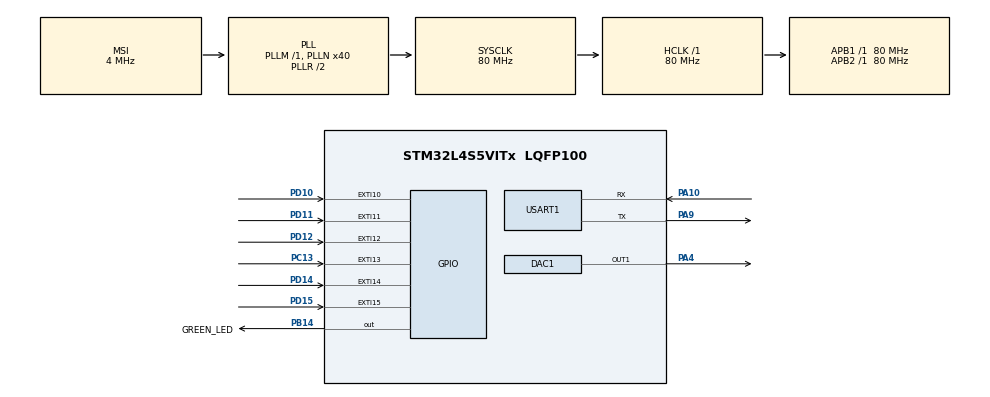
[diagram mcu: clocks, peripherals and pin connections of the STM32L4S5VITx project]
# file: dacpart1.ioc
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DAC1.DAC_Trigger-DAC_OUT1=DAC_TRIGGER_T2_TRGO
Dma.DAC1_CH1.0.Direction=DMA_MEMORY_TO_PERIPH
Dma.DAC1_CH1.0.EventEnable=DISABLE
Dma.DAC1_CH1.0.Instance=DMA1_Channel1
Dma.DAC1_CH1.0.MemDataAlignment=DMA_MDATAALIGN_BYTE
Dma.DAC1_CH1.0.MemInc=DMA_MINC_ENABLE
Dma.DAC1_CH1.0.Mode=DMA_CIRCULAR
Dma.DAC1_CH1.0.PeriphDataAlignment=DMA_PDATAALIGN_HALFWORD
Dma.DAC1_CH1.0.PeriphInc=DMA_PINC_DISABLE
Dma.DAC1_CH1.0.Polarity=HAL_DMAMUX_REQUEST_GEN_RISING
Dma.DAC1_CH1.0.Priority=DMA_PRIORITY_LOW
Dma.DAC1_CH1.0.RequestNumber=1
Dma.DAC1_CH1.0.SignalID=NONE
Dma.DAC1_CH1.0.SyncEnable=DISABLE
Dma.DAC1_CH1.0.SyncPolarity=HAL_DMAMUX_SYNC_NO_EVENT
Dma.DAC1_CH1.0.SyncRequestNumber=1
Dma.DAC1_CH1.0.SyncSignalID=NONE
Dma.Request0=DAC1_CH1
Mcu.Family=STM32L4
Mcu.Name=STM32L4S5VITx
Mcu.Package=LQFP100
NVIC.DMA1_Channel1_IRQn=true\:0\:0\:false\:false\:true\:false\:true
NVIC.EXTI15_10_IRQn=true\:0\:0\:false\:false\:true\:true\:true
NVIC.PriorityGroup=NVIC_PRIORITYGROUP_4
NVIC.TIM2_IRQn=true\:0\:0\:false\:false\:true\:true\:true
PA10.Mode=Asynchronous
PA10.Signal=USART1_RX
PA13\ (JTMS/SWDIO).Signal=SYS_JTMS-SWDIO
PA4.Signal=COMP_DAC11_group
PA9.Mode=Asynchronous
PA9.Signal=USART1_TX
PB14.GPIO_Label=GREEN_LED
PB14.Signal=GPIO_Output
PB3\ (JTDO/TRACESWO).Signal=SYS_JTDO-SWO
PC13.Signal=GPXTI13
PD10.Signal=GPXTI10
PD11.Signal=GPXTI11
PD12.Signal=GPXTI12
PD14.Signal=GPXTI14
PD15.Signal=GPXTI15
ProjectManager.HeapSize=0x200
ProjectManager.StackSize=0x400
ProjectManager.TargetToolchain=STM32CubeIDE
RCC.ADCFreq_Value=48000000
RCC.AHBFreq_Value=80000000
RCC.APB1Freq_Value=80000000
RCC.APB1TimFreq_Value=80000000
RCC.APB2Freq_Value=80000000
RCC.APB2TimFreq_Value=80000000
RCC.CortexFreq_Value=80000000
RCC.HCLKFreq_Value=80000000
RCC.HSE_VALUE=8000000
RCC.HSI48_VALUE=48000000
RCC.HSI_VALUE=16000000
RCC.LSE_VALUE=32768
RCC.MSI_VALUE=4000000
RCC.PLLN=40
RCC.PLLSAI1N=24
RCC.SYSCLKFreq_VALUE=80000000
RCC.SYSCLKSource=RCC_SYSCLKSOURCE_PLLCLK
RCC.USBFreq_Value=48000000
RCC.VCOOutputFreq_Value=160000000
SH.COMP_DAC11_group.0=DAC1_OUT1,DAC_OUT1
TIM2.CounterMode=TIM_COUNTERMODE_UP
TIM2.Period=1814
TIM2.Prescaler=0
TIM2.TIM_MasterOutputTrigger=TIM_TRGO_UPDATE
USART1.VirtualMode-Asynchronous=VM_ASYNC
VP_TIM2_VS_ClockSourceINT.Mode=Internal
board=B-L4S5I-IOT01A

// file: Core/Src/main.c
/* USER CODE BEGIN Header */
/**
  ******************************************************************************
  * @file           : main.c
  * @brief          : Main program body
  ******************************************************************************
  * @attention
  *
  * <h2><center>&copy; Copyright (c) 2021 STMicroelectronics.
  * All rights reserved.</center></h2>
  *
  * This software component is licensed by ST under BSD 3-Clause license,
  * the "License"; You may not use this file except in compliance with the
  * License. You may obtain a copy of the License at:
  *                        opensource.org/licenses/BSD-3-Clause
  *
  ******************************************************************************
  */
/* USER CODE END Header */
#include "main.h"

/* USER CODE BEGIN Includes */
#include "math.h"
#include "arm_math.h"
/* USER CODE END Includes */

/* USER CODE BEGIN PD */
//pi to 100 decimal places
#define pi 3.1415926535897932384626433832795028841971693993751058209749445923078164062862089986280348253421170679
/* USER CODE END PD */

DAC_HandleTypeDef hdac1;
DMA_HandleTypeDef hdma_dac1_ch1;

TIM_HandleTypeDef htim2;

UART_HandleTypeDef huart1;

/* USER CODE BEGIN PV */
uint8_t C6_samples[43]; //holds samples of sine wave for DAC
uint8_t E6_samples[33];
uint8_t G6_samples[27];
int timer_counter = 0;
int arpeggio_counter = 0;
/* USER CODE END PV */

void SystemClock_Config(void);
static void MX_GPIO_Init(void);
static void MX_DMA_Init(void);
static void MX_DAC1_Init(void);
static void MX_TIM2_Init(void);
static void MX_USART1_UART_Init(void);

/* USER CODE BEGIN 0 */

// function for generating a triangle wave from an inputed frequency in Hz, x is the independent variable
uint8_t triangle_wave(float frequency, int x){
	float period = 1000/frequency; //1000ms
	uint8_t y;
	//float y = (2*amplitude/pi)*asin(sin(2*pi*(float)x/period));
	float modulus = fmod(x,period)/period;
	if (modulus<0.5){ //ascending slope for half period
		y = (uint8_t)(510*modulus);
	}else{ //descending slope for half period
		modulus = modulus-0.5;
		y = (uint8_t)(255-510*modulus);
	}

	return y;
}

// function for generating a sawtooth wave from an inputed frequency in Hz, x is the independent variable
uint8_t sawtooth_wave(float frequency, int x){
	float period = 1000/frequency; //1000ms
	//float y = 2*(((float)x/period)-floor(((float)x/period)+0.5));
	float modulus = fmod(x,period)/period; //ascending slope every period
	uint8_t y = (uint8_t)(255*modulus);

	return y;
}

// function for generating a sine wave from an inputed frequency in Hz, x is the independent variable, encapsulates the cmsis sine function
uint8_t sine_wave(float frequency, int x){
	float period = 1000/frequency; //1000ms
	uint8_t y;
	float modulus = fmod(x,period)/period;
	float radians = 6.283185*modulus;
	radians = (arm_sin_f32(radians)+1)*127.5;
	y = (uint8_t)radians;

	return y;
}

// populate the sine wave sampling array for a C6 tone
void C6_sample_populator(){
	for(int i=0; i<43; i++){
		float modulus = (float)i/43;
		float radians = 6.283185*modulus;
		radians = (arm_sin_f32(radians)+1)*85;
		C6_samples[i] = (uint8_t)radians;
	}
}

// populate the sine wave sampling array for an E6 tone
void E6_sample_populator(){
	for(int i=0; i<33; i++){
		float modulus = (float)i/33;
		float radians = 6.283185*modulus;
		radians = (arm_sin_f32(radians)+1)*85;
		E6_samples[i] = (uint8_t)radians;
	}
}

// populate the sine wave sampling array for a G6 tone
void G6_sample_populator(){
	for(int i=0; i<27; i++){
		float modulus = (float)i/27;
		float radians = 6.283185*modulus;
		radians = (arm_sin_f32(radians)+1)*85;
		G6_samples[i] = (uint8_t)radians;
	}
}

// handles interupts from the user button
void HAL_GPIO_EXTI_Callback(uint16_t GPIO_PIN){
	if(GPIO_PIN == GPIO_PIN_13){
		HAL_GPIO_TogglePin(GREEN_LED_GPIO_Port, GREEN_LED_Pin);
		arpeggio_counter++;
		arpeggio_counter = arpeggio_counter%3;
		if (arpeggio_counter == 0){
			HAL_DAC_Stop_DMA(&hdac1, DAC_CHANNEL_1);
			HAL_DAC_Start_DMA(&hdac1,DAC_CHANNEL_1,C6_samples,43,DAC_ALIGN_8B_R);
		}
		else if (arpeggio_counter == 1){
			HAL_DAC_Stop_DMA(&hdac1, DAC_CHANNEL_1);
			HAL_DAC_Start_DMA(&hdac1,DAC_CHANNEL_1,E6_samples,33,DAC_ALIGN_8B_R);
		}
		else if (arpeggio_counter == 2){
			HAL_DAC_Stop_DMA(&hdac1, DAC_CHANNEL_1);
			HAL_DAC_Start_DMA(&hdac1,DAC_CHANNEL_1,G6_samples,27,DAC_ALIGN_8B_R);
		}
	}
}

/*
// basic interrupt for C6 tone with no DMA
void HAL_TIM_PeriodElapsedCallback(TIM_HandleTypeDef * htim){
	if(htim == &htim2){
		timer_counter = timer_counter%44;
		HAL_DAC_SetValue(&hdac1, DAC_CHANNEL_1, DAC_ALIGN_8B_R, C6_samples[timer_counter]);
		timer_counter++;

	}
}
*/
/* USER CODE END 0 */

int main(void)
{

  /* MCU Configuration--------------------------------------------------------*/

  /* Reset of all peripherals, Initializes the Flash interface and the Systick. */
  HAL_Init();

  /* Configure the system clock */
  SystemClock_Config();

  /* Initialize all configured peripherals */
  MX_GPIO_Init();
  MX_DMA_Init();
  MX_DAC1_Init();
  MX_TIM2_Init();
  MX_USART1_UART_Init();
  /* USER CODE BEGIN 2 */

  C6_sample_populator();
  E6_sample_populator();
  G6_sample_populator();

  HAL_TIM_Base_Start_IT(&htim2);

  /*
  int x = 0; //iterator/bootleg timer variable to increase every tick
  uint8_t triangle_current_value; //variable to hold triangle waves value to print to graph
  uint8_t sawtooth_current_value; //variable to hold sawtooth waves value to print to graph
  uint8_t sine_current_value; //variable to hold sine wave value to print to graph

*/
  //HAL_DAC_Start(&hdac1, DAC_CHANNEL_1);

  HAL_DAC_Start_DMA(&hdac1,DAC_CHANNEL_1,C6_samples,43,DAC_ALIGN_8B_R);

  /* USER CODE END 2 */

  /* Infinite loop */
  while (1)
  {

    /* USER CODE BEGIN 3 */
	  /*
	  triangle_current_value = triangle_wave(65, x);
	  sawtooth_current_value = sawtooth_wave(65, x);
	  sine_current_value = sine_wave(65,x);
	  HAL_DAC_SetValue(&hdac1, DAC_CHANNEL_1, DAC_ALIGN_8B_R, sawtooth_current_value);
	  x++;
	  HAL_Delay(1); //1ms
	  */

  }
  /* USER CODE END 3 */
}

void SystemClock_Config(void)
{
  RCC_OscInitTypeDef RCC_OscInitStruct = {0};
  RCC_ClkInitTypeDef RCC_ClkInitStruct = {0};
  RCC_PeriphCLKInitTypeDef PeriphClkInit = {0};

  /** Configure the main internal regulator output voltage
  */
  if (HAL_PWREx_ControlVoltageScaling(PWR_REGULATOR_VOLTAGE_SCALE1) != HAL_OK)
  {
    Error_Handler();
  }
  /** Initializes the RCC Oscillators according to the specified parameters
  * in the RCC_OscInitTypeDef structure.
  */
  RCC_OscInitStruct.OscillatorType = RCC_OSCILLATORTYPE_MSI;
  RCC_OscInitStruct.MSIState = RCC_MSI_ON;
  RCC_OscInitStruct.MSICalibrationValue = 0;
  RCC_OscInitStruct.MSIClockRange = RCC_MSIRANGE_6;
  RCC_OscInitStruct.PLL.PLLState = RCC_PLL_ON;
  RCC_OscInitStruct.PLL.PLLSource = RCC_PLLSOURCE_MSI;
  RCC_OscInitStruct.PLL.PLLM = 1;
  RCC_OscInitStruct.PLL.PLLN = 40;
  RCC_OscInitStruct.PLL.PLLP = RCC_PLLP_DIV2;
  RCC_OscInitStruct.PLL.PLLQ = RCC_PLLQ_DIV2;
  RCC_OscInitStruct.PLL.PLLR = RCC_PLLR_DIV2;
  if (HAL_RCC_OscConfig(&RCC_OscInitStruct) != HAL_OK)
  {
    Error_Handler();
  }
  /** Initializes the CPU, AHB and APB buses clocks
  */
  RCC_ClkInitStruct.ClockType = RCC_CLOCKTYPE_HCLK|RCC_CLOCKTYPE_SYSCLK
                              |RCC_CLOCKTYPE_PCLK1|RCC_CLOCKTYPE_PCLK2;
  RCC_ClkInitStruct.SYSCLKSource = RCC_SYSCLKSOURCE_PLLCLK;
  RCC_ClkInitStruct.AHBCLKDivider = RCC_SYSCLK_DIV1;
  RCC_ClkInitStruct.APB1CLKDivider = RCC_HCLK_DIV1;
  RCC_ClkInitStruct.APB2CLKDivider = RCC_HCLK_DIV1;

  if (HAL_RCC_ClockConfig(&RCC_ClkInitStruct, FLASH_LATENCY_3) != HAL_OK)
  {
    Error_Handler();
  }
  PeriphClkInit.PeriphClockSelection = RCC_PERIPHCLK_USART1;
  PeriphClkInit.Usart1ClockSelection = RCC_USART1CLKSOURCE_PCLK2;
  if (HAL_RCCEx_PeriphCLKConfig(&PeriphClkInit) != HAL_OK)
  {
    Error_Handler();
  }
}

static void MX_DAC1_Init(void)
{

  DAC_ChannelConfTypeDef sConfig = {0};

  /** DAC Initialization
  */
  hdac1.Instance = DAC1;
  if (HAL_DAC_Init(&hdac1) != HAL_OK)
  {
    Error_Handler();
  }
  /** DAC channel OUT1 config
  */
  sConfig.DAC_SampleAndHold = DAC_SAMPLEANDHOLD_DISABLE;
  sConfig.DAC_Trigger = DAC_TRIGGER_T2_TRGO;
  sConfig.DAC_HighFrequency = DAC_HIGH_FREQUENCY_INTERFACE_MODE_DISABLE;
  sConfig.DAC_OutputBuffer = DAC_OUTPUTBUFFER_ENABLE;
  sConfig.DAC_ConnectOnChipPeripheral = DAC_CHIPCONNECT_DISABLE;
  sConfig.DAC_UserTrimming = DAC_TRIMMING_FACTORY;
  if (HAL_DAC_ConfigChannel(&hdac1, &sConfig, DAC_CHANNEL_1) != HAL_OK)
  {
    Error_Handler();
  }

}

static void MX_TIM2_Init(void)
{

  TIM_ClockConfigTypeDef sClockSourceConfig = {0};
  TIM_MasterConfigTypeDef sMasterConfig = {0};

  htim2.Instance = TIM2;
  htim2.Init.Prescaler = 0;
  htim2.Init.CounterMode = TIM_COUNTERMODE_UP;
  htim2.Init.Period = 1814;
  htim2.Init.ClockDivision = TIM_CLOCKDIVISION_DIV1;
  htim2.Init.AutoReloadPreload = TIM_AUTORELOAD_PRELOAD_DISABLE;
  if (HAL_TIM_Base_Init(&htim2) != HAL_OK)
  {
    Error_Handler();
  }
  sClockSourceConfig.ClockSource = TIM_CLOCKSOURCE_INTERNAL;
  if (HAL_TIM_ConfigClockSource(&htim2, &sClockSourceConfig) != HAL_OK)
  {
    Error_Handler();
  }
  sMasterConfig.MasterOutputTrigger = TIM_TRGO_UPDATE;
  sMasterConfig.MasterSlaveMode = TIM_MASTERSLAVEMODE_DISABLE;
  if (HAL_TIMEx_MasterConfigSynchronization(&htim2, &sMasterConfig) != HAL_OK)
  {
    Error_Handler();
  }

}

static void MX_USART1_UART_Init(void)
{

  huart1.Instance = USART1;
  huart1.Init.BaudRate = 115200;
  huart1.Init.WordLength = UART_WORDLENGTH_8B;
  huart1.Init.StopBits = UART_STOPBITS_1;
  huart1.Init.Parity = UART_PARITY_NONE;
  huart1.Init.Mode = UART_MODE_TX_RX;
  huart1.Init.HwFlowCtl = UART_HWCONTROL_NONE;
  huart1.Init.OverSampling = UART_OVERSAMPLING_16;
  huart1.Init.OneBitSampling = UART_ONE_BIT_SAMPLE_DISABLE;
  huart1.Init.ClockPrescaler = UART_PRESCALER_DIV1;
  huart1.AdvancedInit.AdvFeatureInit = UART_ADVFEATURE_NO_INIT;
  if (HAL_UART_Init(&huart1) != HAL_OK)
  {
    Error_Handler();
  }
  if (HAL_UARTEx_SetTxFifoThreshold(&huart1, UART_TXFIFO_THRESHOLD_1_8) != HAL_OK)
  {
    Error_Handler();
  }
  if (HAL_UARTEx_SetRxFifoThreshold(&huart1, UART_RXFIFO_THRESHOLD_1_8) != HAL_OK)
  {
    Error_Handler();
  }
  if (HAL_UARTEx_DisableFifoMode(&huart1) != HAL_OK)
  {
    Error_Handler();
  }

}

static void MX_DMA_Init(void)
{

  /* DMA controller clock enable */
  __HAL_RCC_DMAMUX1_CLK_ENABLE();
  __HAL_RCC_DMA1_CLK_ENABLE();

  /* DMA interrupt init */
  /* DMA1_Channel1_IRQn interrupt configuration */
  HAL_NVIC_SetPriority(DMA1_Channel1_IRQn, 0, 0);
  HAL_NVIC_EnableIRQ(DMA1_Channel1_IRQn);

}

static void MX_GPIO_Init(void)
{
  GPIO_InitTypeDef GPIO_InitStruct = {0};

  /* GPIO Ports Clock Enable */
  __HAL_RCC_GPIOC_CLK_ENABLE();
  __HAL_RCC_GPIOA_CLK_ENABLE();
  __HAL_RCC_GPIOB_CLK_ENABLE();
  __HAL_RCC_GPIOD_CLK_ENABLE();

  /*Configure GPIO pin Output Level */
  HAL_GPIO_WritePin(GREEN_LED_GPIO_Port, GREEN_LED_Pin, GPIO_PIN_RESET);

  /*Configure GPIO pin : PC13 */
  GPIO_InitStruct.Pin = GPIO_PIN_13;
  GPIO_InitStruct.Mode = GPIO_MODE_IT_RISING;
  GPIO_InitStruct.Pull = GPIO_NOPULL;
  HAL_GPIO_Init(GPIOC, &GPIO_InitStruct);

  /*Configure GPIO pin : GREEN_LED_Pin */
  GPIO_InitStruct.Pin = GREEN_LED_Pin;
  GPIO_InitStruct.Mode = GPIO_MODE_OUTPUT_PP;
  GPIO_InitStruct.Pull = GPIO_NOPULL;
  GPIO_InitStruct.Speed = GPIO_SPEED_FREQ_LOW;
  HAL_GPIO_Init(GREEN_LED_GPIO_Port, &GPIO_InitStruct);

  /*Configure GPIO pins : PD10 PD11 PD12 PD14
                           PD15 */
  GPIO_InitStruct.Pin = GPIO_PIN_10|GPIO_PIN_11|GPIO_PIN_12|GPIO_PIN_14
                          |GPIO_PIN_15;
  GPIO_InitStruct.Mode = GPIO_MODE_IT_RISING;
  GPIO_InitStruct.Pull = GPIO_NOPULL;
  HAL_GPIO_Init(GPIOD, &GPIO_InitStruct);

  /* EXTI interrupt init*/
  HAL_NVIC_SetPriority(EXTI15_10_IRQn, 0, 0);
  HAL_NVIC_EnableIRQ(EXTI15_10_IRQn);

}

void Error_Handler(void)
{
  __disable_irq();
}

/************************ (C) COPYRIGHT STMicroelectronics *****END OF FILE****/
